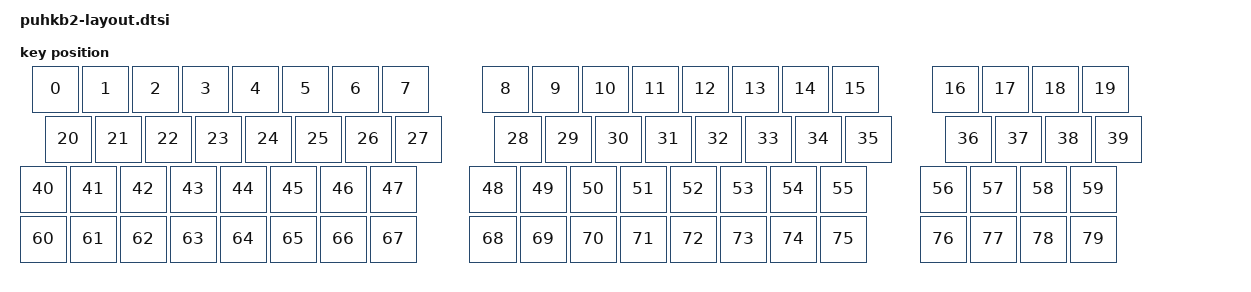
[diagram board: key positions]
#include <physical_layouts.dtsi>

/ {

	puhkb2_physical_layout: puhkb2_physical_layout {
		compatible = "zmk,physical-layout";
		display-name = "default";
		transform = <&default_transform>;
        	kscan = <&kscan0>;

        keys  //                     w   h    x    y     rot    rx    ry
            = <&key_physical_attrs 100 100   25    0       0     0     0>
            , <&key_physical_attrs 100 100  125    0       0     0     0>
            , <&key_physical_attrs 100 100  225    0       0     0     0>
            , <&key_physical_attrs 100 100  325    0       0     0     0>
            , <&key_physical_attrs 100 100  425    0       0     0     0>
            , <&key_physical_attrs 100 100  525    0       0     0     0>
            , <&key_physical_attrs 100 100  625    0       0     0     0>
            , <&key_physical_attrs 100 100  725    0       0     0     0>
			
            , <&key_physical_attrs 100 100  925    0       0     0     0>
            , <&key_physical_attrs 100 100 1025    0       0     0     0>
            , <&key_physical_attrs 100 100 1125    0       0     0     0>
            , <&key_physical_attrs 100 100 1225    0       0     0     0>
            , <&key_physical_attrs 100 100 1325    0       0     0     0>
            , <&key_physical_attrs 100 100 1425    0       0     0     0>
            , <&key_physical_attrs 100 100 1525    0       0     0     0>
            , <&key_physical_attrs 100 100 1625    0       0     0     0>

            , <&key_physical_attrs 100 100 1825    0       0     0     0>
            , <&key_physical_attrs 100 100 1925    0       0     0     0>
            , <&key_physical_attrs 100 100 2025    0       0     0     0>
            , <&key_physical_attrs 100 100 2125    0       0     0     0>
			
            , <&key_physical_attrs 100 100   50  100       0     0     0>
            , <&key_physical_attrs 100 100  150  100       0     0     0>
            , <&key_physical_attrs 100 100  250  100       0     0     0>
            , <&key_physical_attrs 100 100  350  100       0     0     0>
            , <&key_physical_attrs 100 100  450  100       0     0     0>
            , <&key_physical_attrs 100 100  550  100       0     0     0>
            , <&key_physical_attrs 100 100  650  100       0     0     0>
            , <&key_physical_attrs 100 100  750  100       0     0     0>
			
            , <&key_physical_attrs 100 100  950  100       0     0     0>
            , <&key_physical_attrs 100 100 1050  100       0     0     0>
            , <&key_physical_attrs 100 100 1150  100       0     0     0>
            , <&key_physical_attrs 100 100 1250  100       0     0     0>
            , <&key_physical_attrs 100 100 1350  100       0     0     0>
            , <&key_physical_attrs 100 100 1450  100       0     0     0>
            , <&key_physical_attrs 100 100 1550  100       0     0     0>
            , <&key_physical_attrs 100 100 1650  100       0     0     0>

            , <&key_physical_attrs 100 100 1850  100       0     0     0>
            , <&key_physical_attrs 100 100 1950  100       0     0     0>
            , <&key_physical_attrs 100 100 2050  100       0     0     0>
            , <&key_physical_attrs 100 100 2150  100       0     0     0>
			
            , <&key_physical_attrs 100 100    0  200       0     0     0>
            , <&key_physical_attrs 100 100  100  200       0     0     0>
            , <&key_physical_attrs 100 100  200  200       0     0     0>
            , <&key_physical_attrs 100 100  300  200       0     0     0>
            , <&key_physical_attrs 100 100  400  200       0     0     0>
            , <&key_physical_attrs 100 100  500  200       0     0     0>
            , <&key_physical_attrs 100 100  600  200       0     0     0>
            , <&key_physical_attrs 100 100  700  200       0     0     0>
			
            , <&key_physical_attrs 100 100  900  200       0     0     0>
            , <&key_physical_attrs 100 100 1000  200       0     0     0>
            , <&key_physical_attrs 100 100 1100  200       0     0     0>
            , <&key_physical_attrs 100 100 1200  200       0     0     0>
            , <&key_physical_attrs 100 100 1300  200       0     0     0>
            , <&key_physical_attrs 100 100 1400  200       0     0     0>
            , <&key_physical_attrs 100 100 1500  200       0     0     0>
            , <&key_physical_attrs 100 100 1600  200       0     0     0>

            , <&key_physical_attrs 100 100 1800  200       0     0     0>
            , <&key_physical_attrs 100 100 1900  200       0     0     0>
            , <&key_physical_attrs 100 100 2000  200       0     0     0>
            , <&key_physical_attrs 100 100 2100  200       0     0     0>
			
            , <&key_physical_attrs 100 100    0  300       0     0     0>
            , <&key_physical_attrs 100 100  100  300       0     0     0>
            , <&key_physical_attrs 100 100  200  300       0     0     0>
            , <&key_physical_attrs 100 100  300  300       0     0     0>
            , <&key_physical_attrs 100 100  400  300       0     0     0>
            , <&key_physical_attrs 100 100  500  300       0     0     0>
            , <&key_physical_attrs 100 100  600  300       0     0     0>
            , <&key_physical_attrs 100 100  700  300       0     0     0>
			
            , <&key_physical_attrs 100 100  900  300       0     0     0>
            , <&key_physical_attrs 100 100 1000  300       0     0     0>
            , <&key_physical_attrs 100 100 1100  300       0     0     0>
            , <&key_physical_attrs 100 100 1200  300       0     0     0>
            , <&key_physical_attrs 100 100 1300  300       0     0     0>
            , <&key_physical_attrs 100 100 1400  300       0     0     0>
            , <&key_physical_attrs 100 100 1500  300       0     0     0>
            , <&key_physical_attrs 100 100 1600  300       0     0     0>

            , <&key_physical_attrs 100 100 1800  300       0     0     0>
            , <&key_physical_attrs 100 100 1900  300       0     0     0>
            , <&key_physical_attrs 100 100 2000  300       0     0     0>
            , <&key_physical_attrs 100 100 2100  300       0     0     0>
        ;
    };
	
	position_map {
		compatible = "zmk,physical-layout-position-map";

		complete;
		default {
			physical-layout = <&puhkb2_physical_layout>;
			positions  
				= < 0  1  2  3  4  5  6  7  8  9 10 11 12 13 14 15 16 17 18 19>
				, <20 21 22 23 24 25 26 27 28 29 30 31 32 33 34 35 36 37 38 39>
				, <40 41 42 43 44 45 46 47 48 49 50 51 52 53 54 55 56 57 58 59>
				, <60 61 62 63 64 65 66 67 68 69 70 71 72 73 74 75 76 77 78 79>;
		};
	};
};
